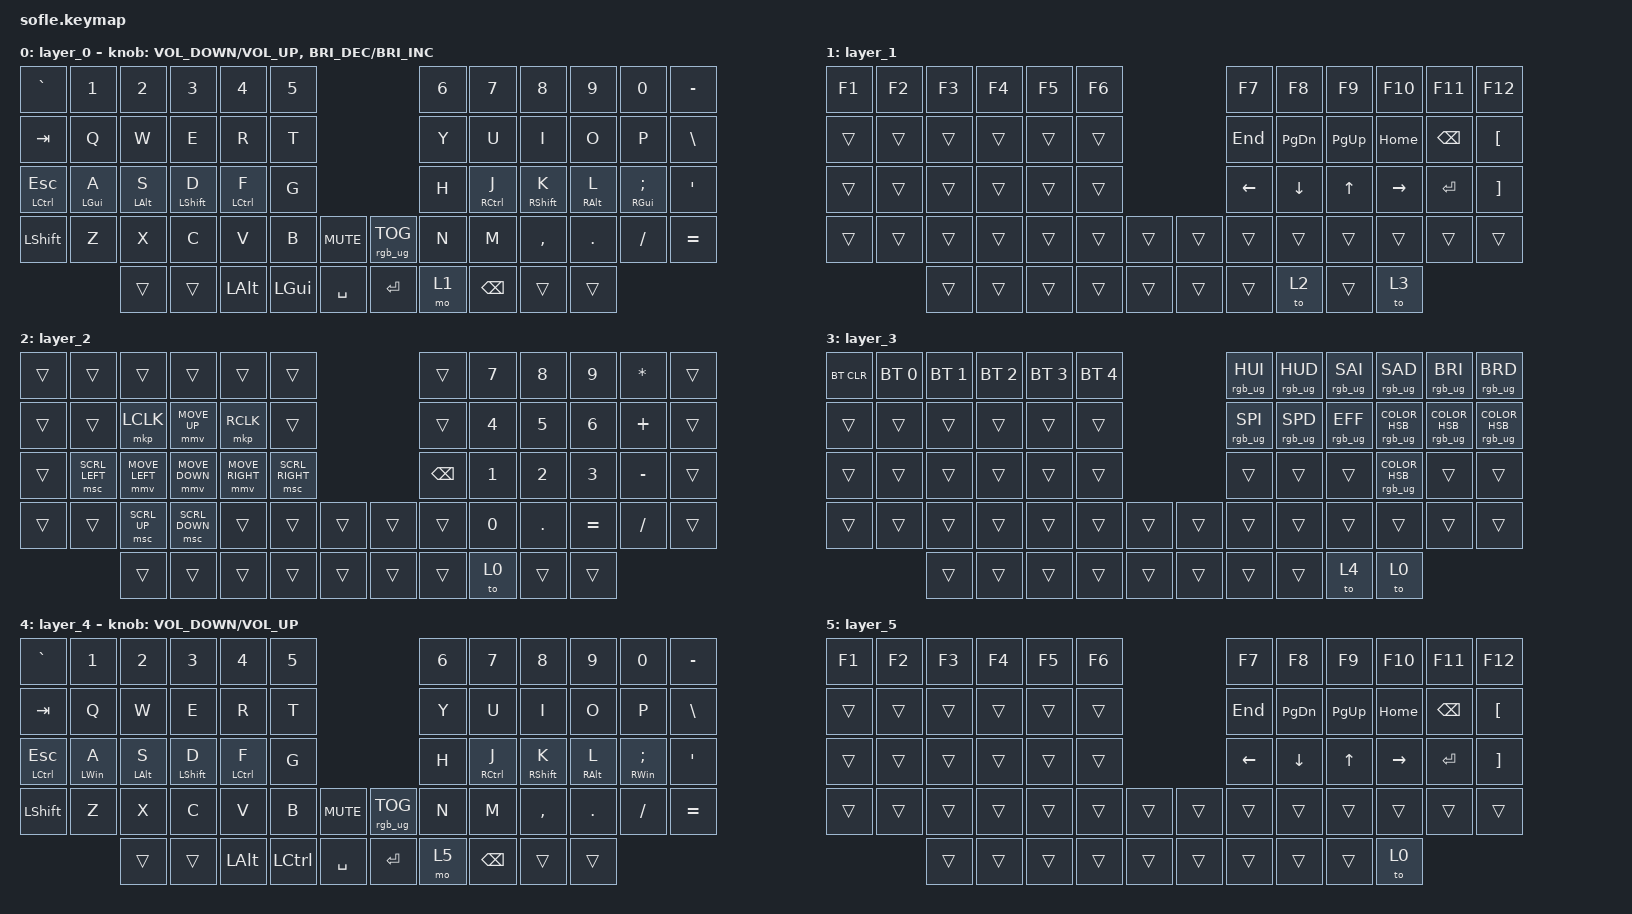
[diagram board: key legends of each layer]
/*
 * Copyright (c) 2020 The ZMK Contributors
 *
 * SPDX-License-Identifier: MIT
 */

#define ZMK_POINTING_DEFAULT_MOVE_VAL 1500
#define ZMK_POINTING_DEFAULT_SCRL_VAL 20

#include <behaviors.dtsi>
#include <dt-bindings/zmk/bt.h>
#include <dt-bindings/zmk/rgb.h>
#include <dt-bindings/zmk/backlight.h>
#include <dt-bindings/zmk/ext_power.h>
#include <dt-bindings/zmk/keys.h>
#include <dt-bindings/zmk/outputs.h>
#include <dt-bindings/zmk/pointing.h>

/ {
    behaviors {
        hml: hml {
            compatible = "zmk,behavior-hold-tap";
            label = "HML";
            bindings = <&kp>, <&kp>;

            #binding-cells = <2>;
            tapping-term-ms = <170>;
            quick-tap-ms = <105>;
            require-prior-idle-ms = <120>;
            flavor = "balanced";
            hold-trigger-on-release;
        };

        hmr: hmr {
            compatible = "zmk,behavior-hold-tap";
            label = "HMR";
            bindings = <&kp>, <&kp>;

            #binding-cells = <2>;
            tapping-term-ms = <170>;
            quick-tap-ms = <105>;
            require-prior-idle-ms = <120>;
            flavor = "balanced";
            hold-trigger-on-release;
        };
    };

    keymap {
        compatible = "zmk,keymap";

        layer_0 {
            bindings = <
&kp GRAVE          &kp N1           &kp N2           &kp N3             &kp N4               &kp N5                                   &kp N6  &kp N7                &kp N8              &kp N9            &kp N0               &kp MINUS
&kp TAB            &kp Q            &kp W            &kp E              &kp R                &kp T                                    &kp Y   &kp U                 &kp I               &kp O             &kp P                &kp BSLH
&hml LCTRL ESCAPE  &hml LEFT_GUI A  &hml LEFT_ALT S  &hml LEFT_SHIFT D  &hml LEFT_CONTROL F  &kp G                                    &kp H   &hmr RIGHT_CONTROL J  &hmr RIGHT_SHIFT K  &hmr RIGHT_ALT L  &hmr RIGHT_GUI SEMI  &kp APOS
&kp LSHFT          &kp Z            &kp X            &kp C              &kp V                &kp B     &kp K_MUTE    &rgb_ug RGB_TOG  &kp N   &kp M                 &kp COMMA           &kp DOT           &kp FSLH             &kp EQUAL
                                    &trans           &trans             &kp LALT             &kp LGUI  &kp SPACE     &kp ENTER        &mo 1   &kp BACKSPACE         &trans              &trans
            >;

            sensor-bindings =
                <&inc_dec_kp C_VOLUME_DOWN C_VOLUME_UP>,
                <&inc_dec_kp C_BRIGHTNESS_DEC C_BRIGHTNESS_INC>;
        };

        layer_1 {
            bindings = <
&kp F1  &kp F2  &kp F3  &kp F4  &kp F5  &kp F6                    &kp F7    &kp F8         &kp F9       &kp F10    &kp F11        &kp F12
&trans  &trans  &trans  &trans  &trans  &trans                    &kp END   &kp PAGE_DOWN  &kp PAGE_UP  &kp HOME   &kp BACKSPACE  &kp LBKT
&trans  &trans  &trans  &trans  &trans  &trans                    &kp LEFT  &kp DOWN       &kp UP       &kp RIGHT  &kp ENTER      &kp RBKT
&trans  &trans  &trans  &trans  &trans  &trans  &trans    &trans  &trans    &trans         &trans       &trans     &trans         &trans
                &trans  &trans  &trans  &trans  &trans    &trans  &trans    &to 2          &trans       &to 3
            >;
        };

        layer_2 {
            bindings = <
&trans  &trans          &trans          &trans          &trans           &trans                             &trans         &kp N7  &kp N8   &kp N9     &kp STAR   &trans
&trans  &trans          &mkp LCLK       &mmv MOVE_UP    &mkp RCLK        &trans                             &trans         &kp N4  &kp N5   &kp N6     &kp PLUS   &trans
&trans  &msc SCRL_LEFT  &mmv MOVE_LEFT  &mmv MOVE_DOWN  &mmv MOVE_RIGHT  &msc SCRL_RIGHT                    &kp BACKSPACE  &kp N1  &kp N2   &kp N3     &kp MINUS  &trans
&trans  &trans          &msc SCRL_UP    &msc SCRL_DOWN  &trans           &trans           &trans    &trans  &trans         &kp N0  &kp DOT  &kp EQUAL  &kp FSLH   &trans
                        &trans          &trans          &trans           &trans           &trans    &trans  &trans         &to 0   &trans   &trans
            >;
        };

        layer_3 {
            bindings = <
&bt BT_CLR  &bt BT_SEL 0  &bt BT_SEL 1  &bt BT_SEL 2  &bt BT_SEL 3  &bt BT_SEL 4                    &rgb_ug RGB_HUI  &rgb_ug RGB_HUD  &rgb_ug RGB_SAI  &rgb_ug RGB_SAD                   &rgb_ug RGB_BRI                 &rgb_ug RGB_BRD
&trans      &trans        &trans        &trans        &trans        &trans                          &rgb_ug RGB_SPI  &rgb_ug RGB_SPD  &rgb_ug RGB_EFF  &rgb_ug RGB_COLOR_HSB(86,51,68)   &rgb_ug RGB_COLOR_HSB(0,0,100)  &rgb_ug RGB_COLOR_HSB(198,70,70)
&trans      &trans        &trans        &trans        &trans        &trans                          &trans           &trans           &trans           &rgb_ug RGB_COLOR_HSB(279,68,72)  &trans                          &trans
&trans      &trans        &trans        &trans        &trans        &trans        &trans    &trans  &trans           &trans           &trans           &trans                            &trans                          &trans
                          &trans        &trans        &trans        &trans        &trans    &trans  &trans           &trans           &to 4            &to 0
            >;
        };

        layer_4 {
            bindings = <
&kp GRAVE       &kp N1           &kp N2           &kp N3             &kp N4               &kp N5                                    &kp N6  &kp N7                &kp N8              &kp N9            &kp N0               &kp MINUS
&kp TAB         &kp Q            &kp W            &kp E              &kp R                &kp T                                     &kp Y   &kp U                 &kp I               &kp O             &kp P                &kp BSLH
&hml LCTRL ESC  &hml LEFT_WIN A  &hml LEFT_ALT S  &hml LEFT_SHIFT D  &hml LEFT_CONTROL F  &kp G                                     &kp H   &hmr RIGHT_CONTROL J  &hmr RIGHT_SHIFT K  &hmr RIGHT_ALT L  &hmr RIGHT_WIN SEMI  &kp APOS
&kp LSHFT       &kp Z            &kp X            &kp C              &kp V                &kp B      &kp K_MUTE    &rgb_ug RGB_TOG  &kp N   &kp M                 &kp COMMA           &kp DOT           &kp FSLH             &kp EQUAL
                                 &trans           &trans             &kp LALT             &kp LCTRL  &kp SPACE     &kp ENTER        &mo 5   &kp BSPC              &trans              &trans
            >;

            sensor-bindings = <&inc_dec_kp C_VOLUME_DOWN C_VOLUME_UP>;
        };

        layer_5 {
            bindings = <
&kp F1  &kp F2  &kp F3  &kp F4  &kp F5  &kp F6                    &kp F7          &kp F8          &kp F9        &kp F10          &kp F11    &kp F12
&trans  &trans  &trans  &trans  &trans  &trans                    &kp END         &kp PAGE_DOWN   &kp PAGE_UP   &kp HOME         &kp BSPC   &kp LBKT
&trans  &trans  &trans  &trans  &trans  &trans                    &kp LEFT_ARROW  &kp DOWN_ARROW  &kp UP_ARROW  &kp RIGHT_ARROW  &kp ENTER  &kp RBKT
&trans  &trans  &trans  &trans  &trans  &trans  &trans    &trans  &trans          &trans          &trans        &trans           &trans     &trans
                &trans  &trans  &trans  &trans  &trans    &trans  &trans          &trans          &trans        &to 0
            >;
        };
    };
};
